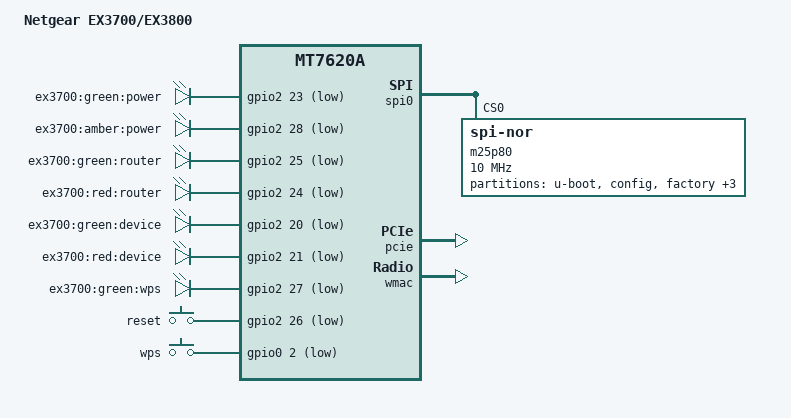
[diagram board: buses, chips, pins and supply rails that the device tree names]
/* This file is released into the public domain */

/dts-v1/;

#include <dt-bindings/gpio/gpio.h>
#include <dt-bindings/input/input.h>

#include "mt7620a.dtsi"

/ {
	compatible = "netgear,ex3700", "ralink,mt7620a-soc";
	model = "Netgear EX3700/EX3800";

	aliases {
		led-status = &led_power_green;
	};

	chosen {
		bootargs = "console=ttyS0,57600";
	};

	gpio-leds {
		compatible = "gpio-leds";

		led_power_green: power_g {
			label = "ex3700:green:power";
			gpios = <&gpio2 23 GPIO_ACTIVE_LOW>;
			default-state = "on";
		};

		power_a {
			label = "ex3700:amber:power";
			gpios = <&gpio2 28 GPIO_ACTIVE_LOW>;
			default-state = "off";
		};

		router_g {
			label = "ex3700:green:router";
			gpios = <&gpio2 25 GPIO_ACTIVE_LOW>;
		};

		router_r {
			label = "ex3700:red:router";
			gpios = <&gpio2 24 GPIO_ACTIVE_LOW>;
		};

		device_g {
			label = "ex3700:green:device";
			gpios = <&gpio2 20 GPIO_ACTIVE_LOW>;
		};

		device_r {
			label = "ex3700:red:device";
			gpios = <&gpio2 21 GPIO_ACTIVE_LOW>;
		};

		wps {
			label = "ex3700:green:wps";
			gpios = <&gpio2 27 GPIO_ACTIVE_LOW>;
		};
	};

	gpio-keys-polled {
		compatible = "gpio-keys-polled";
		poll-interval = <20>;

		reset {
			label = "reset";
			gpios = <&gpio2 26 GPIO_ACTIVE_LOW>;
			linux,code = <KEY_RESTART>;
		};

		wps {
			label = "wps";
			gpios = <&gpio0 2 GPIO_ACTIVE_LOW>;
			linux,code = <KEY_WPS_BUTTON>;
		};
	};
};

&gpio0 {
	status = "okay";
};

&gpio2 {
	status = "okay";
};

&spi0 {
	status = "okay";

	m25p80@0 {
		compatible = "jedec,spi-nor";
		reg = <0>;
		spi-max-frequency = <10000000>;

		partitions {
			compatible = "fixed-partitions";
			#address-cells = <1>;
			#size-cells = <1>;

			partition@0 {
				label = "u-boot";
				reg = <0x0 0x30000>;
				read-only;
			};

			partition@30000 {
				label = "config";
				reg = <0x30000 0x10000>;
				read-only;
			};

			factory: partition@40000 {
				label = "factory";
				reg = <0x40000 0x10000>;
				read-only;
			};

			partition@50000 {
				label = "firmware";
				reg = <0x50000 0x790000>;
			};

			partition@7e0000 {
				label = "board_data";
				reg = <0x7e0000 0x10000>;
				read-only;
			};

			partition@7f0000 {
				label = "nvram";
				reg = <0x7f0000 0x10000>;
				read-only;
			};
		};
	};
};

&pcie {
	status = "okay";
};

&pcie0 {
	mt76@0,0 {
		reg = <0x0000 0 0 0 0 >;
		mediatek,mtd-eeprom = <&factory 0x8000>;
		ieee80211-freq-limit = <5000000 6000000>;
	};
};

&ethernet {
	mtd-mac-address = <&factory 0x28>;
};

&wmac {
	ralink,mtd-eeprom = <&factory 0x0>;
};

&pinctrl {
	state_default: pinctrl0 {
		default {
			ralink,group = "i2c", "rgmii2", "spi refclk";
			ralink,function = "gpio";
		};
	};
};
